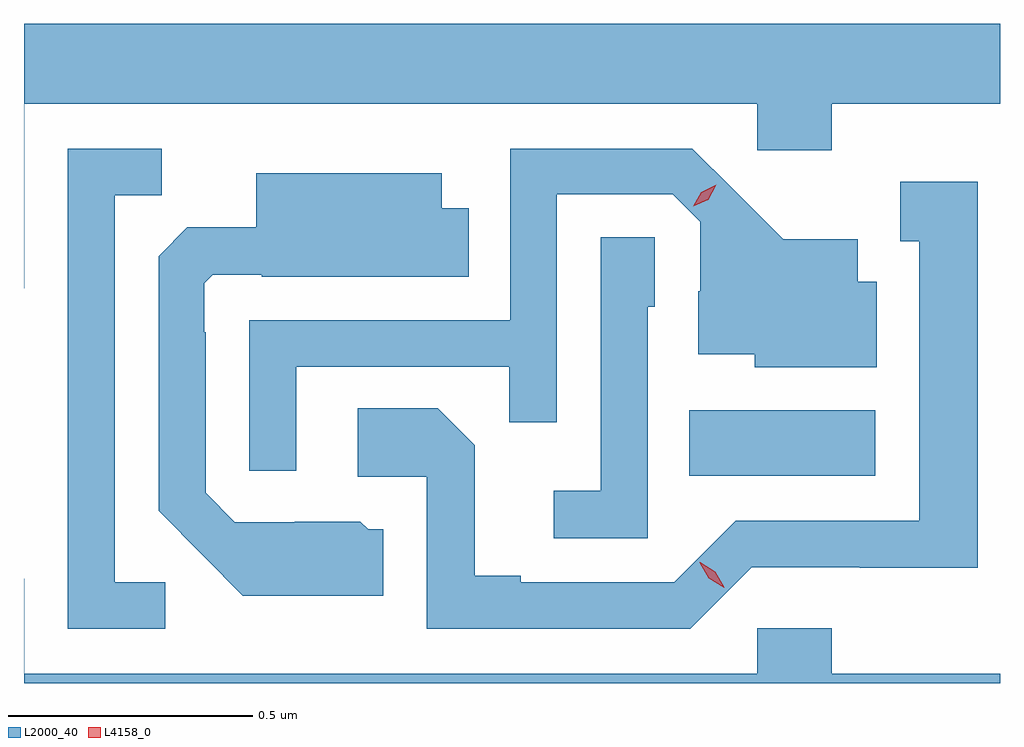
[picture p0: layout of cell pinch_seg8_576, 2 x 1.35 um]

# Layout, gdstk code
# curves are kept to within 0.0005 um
import gdstk
lib = gdstk.Library(unit=1e-6, precision=1e-09)
def R(c, l, rs):  # rectangles x0, y0, x1, y1
    for r in rs: c.add(gdstk.rectangle(r[:2], r[2:], *l))
def P(c, l, *ps):  # polygons
    for p in ps: c.add(gdstk.Polygon(p, *l))
L2000_40 = (2000, 40)
L4158_0 = (4158, 0)

pinch_seg8_576 = lib.new_cell('pinch_seg8_576')
R(pinch_seg8_576, L2000_40, [(168.004,1107.746,168.385,1107.88)])
P(pinch_seg8_576, L2000_40, [(166.642,1108.508),(168.144,1108.508),(168.144,1108.413),(168.296,1108.413),(168.296,1108.508),(168.641,1108.508),(168.641,1108.672),(166.641,1108.672),(166.641,1108.13),(166.642,1108.13)],
  [(166.93,1107.528),(166.827,1107.528),(166.827,1108.321),(166.923,1108.321),(166.923,1108.416),(166.731,1108.416),(166.731,1107.432),(166.93,1107.432)],
  [(167.199,1107.969),(167.635,1107.969),(167.635,1107.856),(167.733,1107.856),(167.733,1108.323),(167.97,1108.323),(168.027,1108.266),(168.027,1108.124),(168.023,1108.124),(168.023,1107.995),(168.138,1107.995),(168.138,1107.968),(168.388,1107.968),(168.388,1108.144),(168.349,1108.144),(168.349,1108.231),(168.197,1108.231),(168.01,1108.416),(167.637,1108.416),(167.637,1108.065),(167.103,1108.065),(167.103,1107.756),(167.199,1107.756)],
  [(167.377,1107.636),(167.346,1107.636),(167.33,1107.652),(167.196,1107.652),(167.196,1107.651),(167.073,1107.651),(167.013,1107.711),(167.013,1108.04),(167.01,1108.04),(167.01,1108.14),(167.028,1108.158),(167.128,1108.158),(167.128,1108.154),(167.552,1108.154),(167.552,1108.294),(167.497,1108.294),(167.497,1108.366),(167.117,1108.366),(167.117,1108.255),(166.976,1108.255),(166.917,1108.196),(166.917,1107.674),(167.089,1107.5),(167.377,1107.5)],
  [(168.132,1107.558),(168.354,1107.558),(168.354,1107.557),(168.595,1107.557),(168.595,1108.348),(168.437,1108.348),(168.437,1108.227),(168.476,1108.227),(168.476,1107.654),(168.099,1107.654),(167.973,1107.528),(167.659,1107.528),(167.659,1107.541),(167.565,1107.541),(167.565,1107.808),(167.489,1107.884),(167.325,1107.884),(167.325,1107.744),(167.466,1107.744),(167.466,1107.432),(168.006,1107.432)],
  [(167.919,1108.092),(167.934,1108.092),(167.934,1108.235),(167.823,1108.235),(167.823,1107.715),(167.727,1107.715),(167.727,1107.618),(167.919,1107.618)],
  [(166.642,1107.535),(166.641,1107.535),(166.641,1107.321),(168.641,1107.321),(168.641,1107.34),(168.296,1107.34),(168.296,1107.433),(168.144,1107.433),(168.144,1107.34),(166.642,1107.34)])
P(pinch_seg8_576, L4158_0, [(168.076,1107.516),(168.044,1107.536),(168.026,1107.568),(168.026,1107.569),(168.027,1107.569),(168.058,1107.549),(168.076,1107.517),(168.076,1107.516)],
  [(168.012,1108.298),(168.012,1108.298),(168.029,1108.327),(168.06,1108.342),(168.06,1108.342),(168.06,1108.342),(168.043,1108.312),(168.012,1108.298)])

lib.write_gds('pinch_seg8_576.gds')
